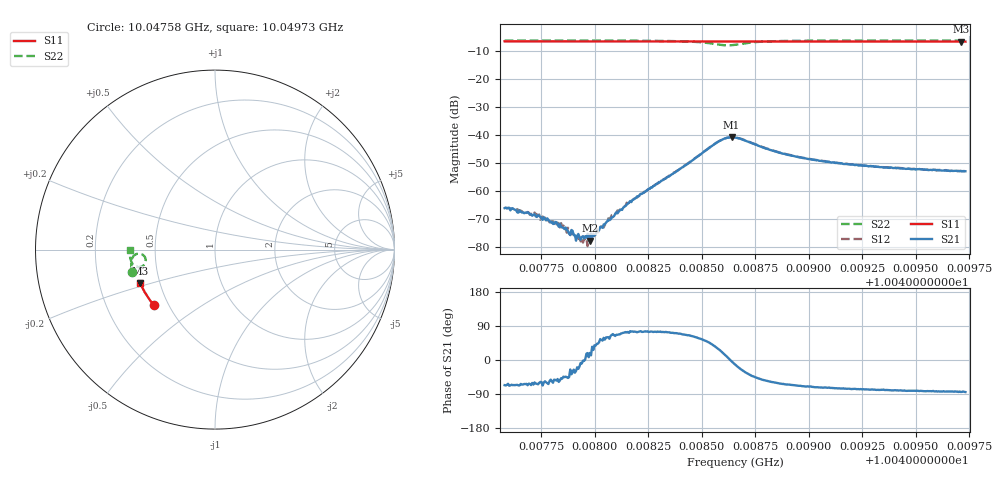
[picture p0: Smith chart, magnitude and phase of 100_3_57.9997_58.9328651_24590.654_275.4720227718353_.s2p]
#  HZ  S  RI  R  50.00
! Rohde & Schwarz Vector Network Analyzer
! Rohde-Schwarz,ZNB20-2Port,1311601062101988,3.16
! Created: UTC 3/21/2024, 12:54:47 AM
! freq[Hz]  re:S11  im:S11  re:S21  im:S21  re:S12  im:S12  re:S22  im:S22
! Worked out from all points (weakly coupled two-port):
!   401 points, 10.04758 GHz to 10.04973 GHz, reference 50 ohm
!   highest |S21| = -40.90 dB at 10.04864 GHz (marker M1); lowest = -77.7 dB at 10.04798 GHz (marker M2)
!   lowest |S11| = -6.8 dB at 10.04971 GHz (marker M3), VSWR 2.68, Z = 19.4 - j9.26 ohm
!   |S11| at or under -10 dB: nowhere
!   |S22| runs from -8.2 to -6.4 dB; largest |S21 - S12| = 0.00064
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1.0047578e10  -0.3415 -0.3082  0.000198 -0.000455  0.000223 -0.000453  -0.4612 -0.123
1.0047729e10  -0.3479 -0.3005  0.000157 -0.000307  0.000225 -0.000312  -0.4635 -0.112
1.0047853e10  -0.3531 -0.2939  0.000159 -0.000153  0.000167 -0.000176  -0.465 -0.1025
1.004788e10  -0.3542 -0.2925  0.000124 -0.000125  0.000121 -0.000125  -0.4654 -0.1002
1.0047907e10  -0.3552 -0.2911  0.000137 -9.06e-05  0.000156 -6.36e-05  -0.4657 -0.0981
1.0047939e10  -0.3566 -0.2894  0.00015 -2.47e-05  0.000136 -5.41e-05  -0.4659 -0.0954
1.0047977e10  -0.358 -0.2874  0.000124 4.18e-05  0.000125 6.82e-05  -0.4663 -0.0922
1.0047998e10  -0.3589 -0.2862  0.000126 0.000101  0.000118 0.000104  -0.4666 -0.0905
1.004802e10  -0.3599 -0.2851  0.000137 0.000145  0.000161 0.000172  -0.4666 -0.0885
1.0048047e10  -0.3609 -0.2836  0.000152 0.000207  0.000121 0.000221  -0.4669 -0.0863
1.0048074e10  -0.3619 -0.2821  0.00014 0.00028  0.000146 0.000302  -0.4669 -0.0837
1.0048095e10  -0.3627 -0.281  0.000176 0.00035  0.000124 0.00037  -0.467 -0.0816
1.0048165e10  -0.3655 -0.2773  0.000161 0.000646  0.000135 0.000636  -0.467 -0.0748
1.00483e10  -0.3706 -0.2698  0.000382 0.00135  0.000326 0.00141  -0.4653 -0.0593
1.0048569e10  -0.38 -0.2546  0.0061 0.00392  0.00586 0.00431  -0.4081 -0.0256
1.0048639e10  -0.3819 -0.2511  0.009 -0.000541  0.00907 4.6e-05  -0.3869 -0.0682
1.0048655e10  -0.3825 -0.2504  0.00874 -0.00184  0.00888 -0.00128  -0.3913 -0.0794
1.0048865e10  -0.3902 -0.2387  0.00222 -0.00421  0.00255 -0.00412  -0.459 -0.0797
1.0049016e10  -0.3953 -0.2301  0.00118 -0.00342  0.00143 -0.00338  -0.4688 -0.0606
1.0049377e10  -0.4064 -0.2089  0.000463 -0.00253  0.000642 -0.00255  -0.475 -0.0273
1.0049711e10  -0.4152 -0.1889  0.000221 -0.00226  0.000353 -0.00224  -0.476 -0.00199
1.0049733e10  -0.4158 -0.1876  0.00021 -0.00223  0.000366 -0.00222  -0.476 -0.000428
